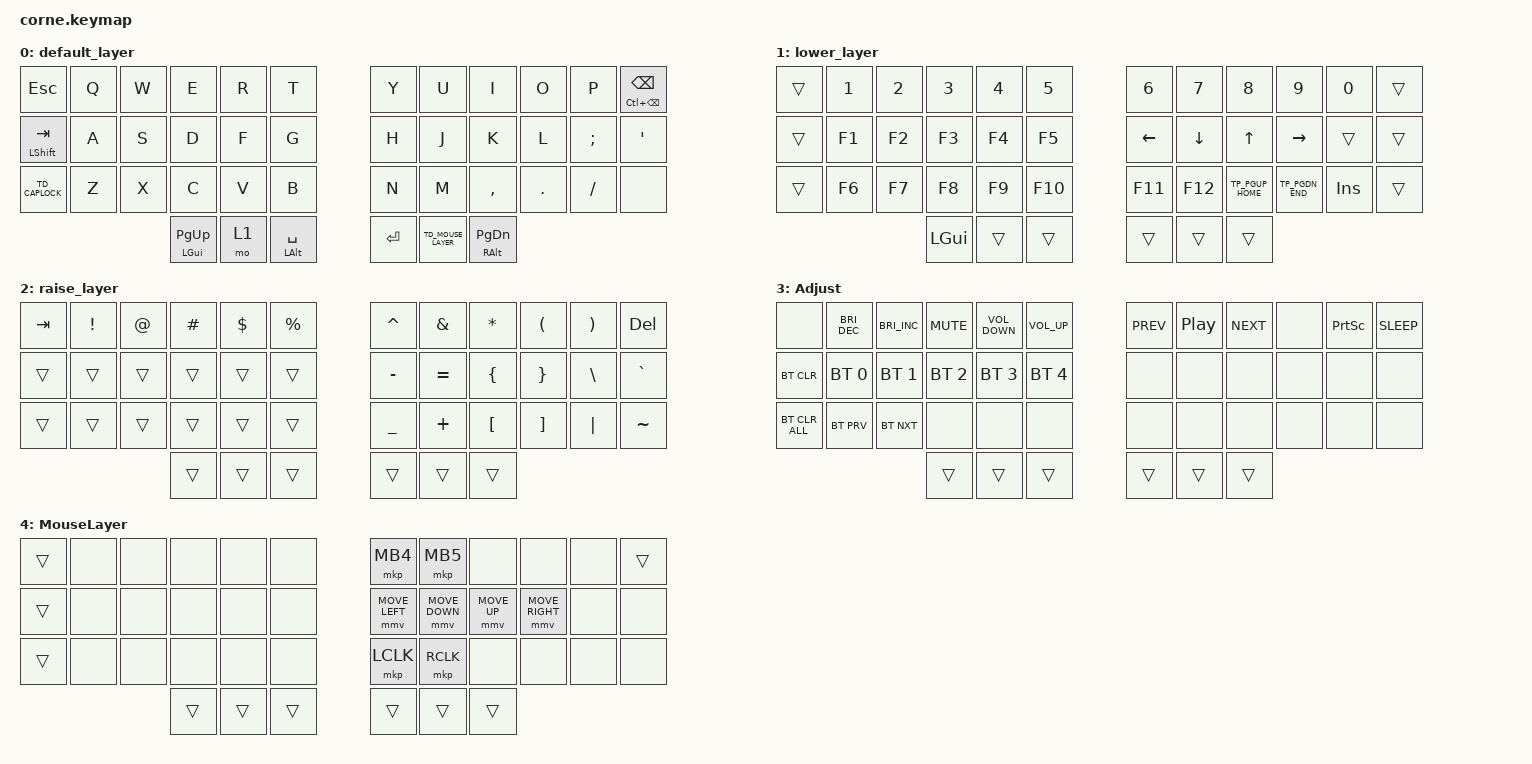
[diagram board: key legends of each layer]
/*
 * Copyright (c) 2020 The ZMK Contributors
 *
 * SPDX-License-Identifier: MIT
 */

#include <behaviors.dtsi>
#include <dt-bindings/zmk/bt.h>
#include <dt-bindings/zmk/keys.h>
#include <dt-bindings/zmk/pointing.h>

/ {
    behaviors {
        TD_CAPLOCK: TD_CAPLOCK {
            compatible = "zmk,behavior-tap-dance";
            label = "TD_CAPLOCK";
            #binding-cells = <0>;
            bindings = <&kp LEFT_CONTROL>, <&kp CLCK>;
        };

        TD_MOUSE_LAYER: TD_MOUSE_LAYER {
            compatible = "zmk,behavior-tap-dance";
            label = "TD_MOUSE_LAYER";
            #binding-cells = <0>;
            bindings = <&mo 2>, <&tog 4>;
        };

        ctrl_backspace: ctrl_backspace {
            compatible = "zmk,behavior-hold-tap";
            label = "CTRL_BACKSPACE";
            bindings = <&kp>, <&kp>;

            #binding-cells = <2>;
            tapping-term-ms = <350>;
            flavor = "tap-preferred";
        };

        TP_PGUP_HOME: TP_PGUP_HOME {
            compatible = "zmk,behavior-tap-dance";
            label = "TP_PGUP_HOME";
            #binding-cells = <0>;
            bindings = <&kp PG_UP>, <&kp HOME>;
        };

        TP_PGDN_END: TP_PGDN_END {
            compatible = "zmk,behavior-tap-dance";
            label = "TP_PGDN_END";
            #binding-cells = <0>;
            bindings = <&kp PG_DN>, <&kp END>;
        };
    };

    combos {
        compatible = "zmk,combos";

        middle_click {
            bindings = <&mkp MCLK>;
            key-positions = <30 31>;
            layers = <4>;
        };

        scroll_down {
            bindings = <&msc SCRL_DOWN>;
            key-positions = <30 31 19 31>;
            layers = <4>;
        };

        scroll_up {
            bindings = <&msc SCRL_UP>;
            key-positions = <30 31 20>;
            layers = <4>;
        };

        scroll_left {
            bindings = <&msc SCRL_LEFT>;
            key-positions = <30 31 18>;
            layers = <4>;
        };

        scroll_right {
            bindings = <&msc SCRL_RIGHT>;
            key-positions = <30 31 21>;
            layers = <4>;
        };
    };

    keymap {
        compatible = "zmk,keymap";

        default_layer {
            // -----------------------------------------------------------------------------------------
            // |  TAB |  Q  |  W  |  E  |  R  |  T  |   |  Y  |  U   |  I  |  O  |  P  | BSPC |
            // | CTRL |  A  |  S  |  D  |  F  |  G  |   |  H  |  J   |  K  |  L  |  ;  |  '   |
            // | SHFT |  Z  |  X  |  C  |  V  |  B  |   |  N  |  M   |  ,  |  .  |  /  | ESC  |
            //                    | GUI | LWR | SPC |   | ENT | RSE  | ALT |

            bindings = <
&kp ESC             &kp Q  &kp W  &kp E             &kp R  &kp T                 &kp Y    &kp U            &kp I               &kp O    &kp P     &ctrl_backspace LC(BACKSPACE) BACKSPACE
&mt LEFT_SHIFT TAB  &kp A  &kp S  &kp D             &kp F  &kp G                 &kp H    &kp J            &kp K               &kp L    &kp SEMI  &kp SQT
&TD_CAPLOCK         &kp Z  &kp X  &kp C             &kp V  &kp B                 &kp N    &kp M            &kp COMMA           &kp DOT  &kp FSLH  &none
                                  &mt LGUI PAGE_UP  &mo 1  &mt LEFT_ALT SPACE    &kp RET  &TD_MOUSE_LAYER  &mt RALT PAGE_DOWN
            >;
        };

        lower_layer {
            // -----------------------------------------------------------------------------------------
            // |  TAB |  1  |  2  |  3  |  4  |  5  |   |  6  |  7  |  8  |  9  |  0  | BSPC |
            // | BTCLR| BT1 | BT2 | BT3 | BT4 | BT5 |   | LFT | DWN |  UP | RGT |     |      |
            // | SHFT |     |     |     |     |     |   |     |     |     |     |     |      |
            //                    | GUI |     | SPC |   | ENT |     | ALT |

            bindings = <
&trans  &kp N1  &kp N2  &kp N3    &kp N4  &kp N5     &kp N6    &kp N7    &kp N8         &kp N9        &kp N0   &trans
&trans  &kp F1  &kp F2  &kp F3    &kp F4  &kp F5     &kp LEFT  &kp DOWN  &kp UP         &kp RIGHT     &trans   &trans
&trans  &kp F6  &kp F7  &kp F8    &kp F9  &kp F10    &kp F11   &kp F12   &TP_PGUP_HOME  &TP_PGDN_END  &kp INS  &trans
                        &kp LGUI  &trans  &trans     &trans    &trans    &trans
            >;
        };

        raise_layer {
            // -----------------------------------------------------------------------------------------
            // |  TAB |  !  |  @  |  #  |  $  |  %  |   |  ^  |  &  |  *  |  (  |  )  | BSPC |
            // | CTRL |     |     |     |     |     |   |  -  |  =  |  [  |  ]  |  \  |  `   |
            // | SHFT |     |     |     |     |     |   |  _  |  +  |  {  |  }  | "|" |  ~   |
            //                    | GUI |     | SPC |   | ENT |     | ALT |

            bindings = <
&kp TAB  &kp EXCL  &kp AT  &kp HASH  &kp DLLR  &kp PRCNT    &kp CARET  &kp AMPS   &kp ASTRK         &kp LPAR           &kp RPAR  &kp DEL
&trans   &trans    &trans  &trans    &trans    &trans       &kp MINUS  &kp EQUAL  &kp LEFT_BRACE    &kp RIGHT_BRACE    &kp BSLH  &kp GRAVE
&trans   &trans    &trans  &trans    &trans    &trans       &kp UNDER  &kp PLUS   &kp LEFT_BRACKET  &kp RIGHT_BRACKET  &kp PIPE  &kp TILDE
                           &trans    &trans    &trans       &trans     &trans     &trans
            >;
        };

        Adjust {
            bindings = <
&none           &kp C_BRIGHTNESS_DEC  &kp C_BRIGHTNESS_INC  &kp C_MUTE    &kp C_VOLUME_DOWN  &kp C_VOLUME_UP    &kp C_PREV  &kp C_PLAY_PAUSE  &kp C_NEXT  &none  &kp PRINTSCREEN  &kp C_SLEEP
&bt BT_CLR      &bt BT_SEL 0          &bt BT_SEL 1          &bt BT_SEL 2  &bt BT_SEL 3       &bt BT_SEL 4       &none       &none             &none       &none  &none            &none
&bt BT_CLR_ALL  &bt BT_PRV            &bt BT_NXT            &none         &none              &none              &none       &none             &none       &none  &none            &none
                                                            &trans        &trans             &trans             &trans      &trans            &trans
            >;
        };

        MouseLayer {
            bindings = <
&trans  &none  &none  &none   &none   &none     &mkp MB4        &mkp MB5        &none         &none            &none  &trans
&trans  &none  &none  &none   &none   &none     &mmv MOVE_LEFT  &mmv MOVE_DOWN  &mmv MOVE_UP  &mmv MOVE_RIGHT  &none  &none
&trans  &none  &none  &none   &none   &none     &mkp LCLK       &mkp RCLK       &none         &none            &none  &none
                      &trans  &trans  &trans    &trans          &trans          &trans
            >;
        };
    };

    conditional_layers {
        compatible = "zmk,conditional-layers";

        ADJ_LAYER {
            if-layers = <1 2>;
            then-layer = <3>;
        };
    };
};
